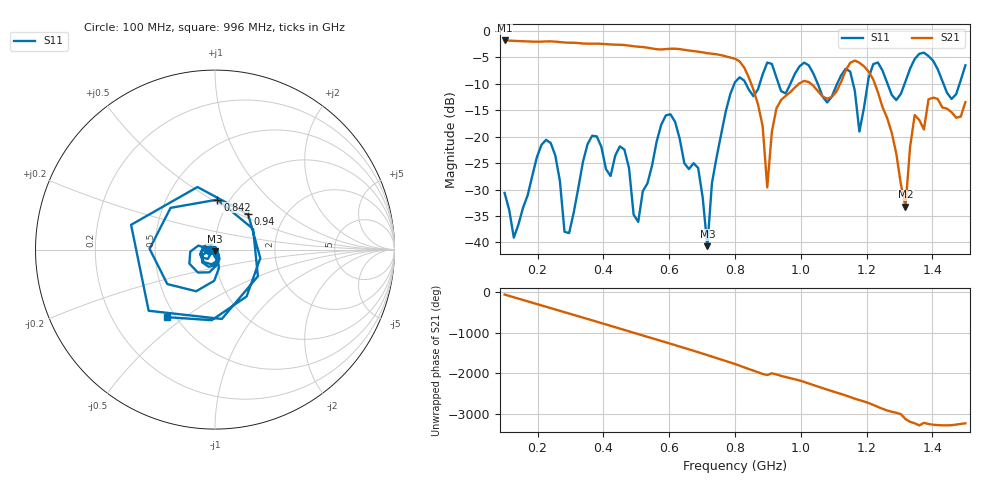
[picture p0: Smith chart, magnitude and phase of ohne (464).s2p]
! NanoVNA-App
! Date: 2025-09-25 14:24:24
! Start: 100MHz Stop: 1,5GHz Points: 101
! S-Parameter data: F S11 S21 S12 S22
# Hz S RI R 50
!  Frequency  S11_Real  S11_Imag  S21_Real  S21_Imag  S12_Real  S12_Imag  S22_Real  S22_Imag
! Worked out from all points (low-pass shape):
!   101 points, 100 MHz to 1.5 GHz, reference 50 ohm
!   highest |S21| = -1.79 dB at 100 MHz (marker M1); lowest = -33.2 dB at 1.318 GHz (marker M2)
!   |S21| within 3 dB of the highest: start of sweep to 771.3 MHz
!   lowest |S11| = -40.7 dB at 716 MHz (marker M3), VSWR 1.02, Z = 49.9 - j0.912 ohm
!   |S11| at or under -10 dB: start of sweep to 798 MHz; 833.1 MHz to 875.1 MHz (42 MHz wide, 4.92 % of centre); 1.052 GHz to 1.11 GHz (58.75 MHz wide, 5.43 % of centre) (the widest 3 of 7)
!   S12 and S22 are empty: the file has one direction only
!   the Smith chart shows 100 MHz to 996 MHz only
!   S11 on the Smith chart (normalised r, x): 100 MHz: 0.94, -0.01; 842 MHz: 0.88, +0.53; 940 MHz: 1.32, +0.56; 996 MHz: 0.45, -0.43
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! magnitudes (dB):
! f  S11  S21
! 100 MHz  -30.6  -1.8
! 128 MHz  -39.1  -1.9
! 226 MHz  -20.6  -2.0
! 296 MHz  -38.2  -2.2
! 338 MHz  -24.8  -2.4
! 464 MHz  -22.4  -2.7
! 506 MHz  -36.1  -3.0
! 576 MHz  -17.7  -3.5
! 688 MHz  -25.9  -3.9
! 716 MHz  -40.7  -4.2
! 800 MHz  -9.7  -5.3
! 842 MHz  -11.1  -8.8
! 898 MHz  -6.0  -29.6
! 940 MHz  -11.4  -13.1
! 996 MHz  -6.7  -9.9
! 1.038 GHz  -8.0  -10.4
! 1.178 GHz  -19.0  -6.0
! 1.22 GHz  -6.3  -9.2
! 1.276 GHz  -12.1  -19.2
! 1.318 GHz  -9.6  -33.2
! 1.346 GHz  -5.3  -15.9
! 1.5 GHz  -6.5  -13.5
